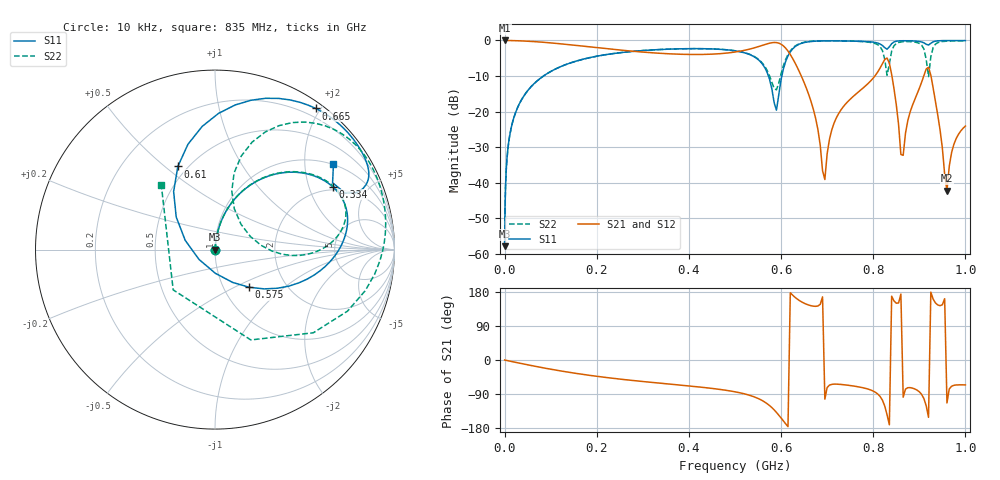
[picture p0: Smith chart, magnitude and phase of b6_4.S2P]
!Generated from: C:\Users\nkfzm\OneDrive - University of Missouri\Desktop\Research\PowerSI\Board 6 - GGPG\b6.spd
! Port1_ic_port_1::pwr
! Port2_decap_port_1::pwr
!Layout Workbench Version: 24.1.0.10141.541387  000
!Computer Host Name: RS29JQCX3
!TouchstoneFormatFlag = 1
! GNDNET gnd
! NETSLIST
#	Hz	Z	RI	R	1
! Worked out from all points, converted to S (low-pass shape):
!   385 points, 10 kHz to 1 GHz, reference 1 ohm
!   highest |S21| = -0.01 dB at 10 kHz (marker M1); lowest = -42.3 dB at 960 MHz (marker M2)
!   |S21| within 3 dB of the highest: start of sweep to 275.4 MHz; 511.8 MHz to 615 MHz (103.3 MHz wide, 18.3 % of centre)
!   lowest |S11| = -57.9 dB at 10 kHz (marker M3), VSWR 1.00, Z = 1 + j8.97e-05 ohm
!   |S11| at or under -10 dB: start of sweep to 84.45 MHz; 572.5 MHz to 601.7 MHz (29.18 MHz wide, 4.97 % of centre)
!   |S22| runs from -57.9 to -0.1 dB; largest |S21 - S12| = 1.5e-11
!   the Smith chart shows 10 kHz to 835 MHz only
!   S11 on the Smith chart (normalised r, x): 10 kHz: 1.00, +0.00; 334 MHz: 1.85, +2.90; 575 MHz: 1.32, -0.60; 610 MHz: 0.44, +0.55; 665 MHz: 0.08, +1.94; 835 MHz: 0.98, +2.78
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10000  -1.499 -2.052e+05  -1.5 -2.052e+05  -1.5 -2.052e+05  -1.499 -2.052e+05
6000000  0.0032 -342  0.00119 -342  0.00119 -342  0.00321 -342
2.6e7  0.00686 -78.74  0.00257 -78.85  0.00257 -78.85  0.00688 -78.74
1.68e8  0.0176 -11.05  0.00672 -11.75  0.00672 -11.75  0.0177 -11.02
3.34e8  0.0255 -3.815  0.0103 -5.179  0.0103 -5.179  0.0263 -3.715
5.05e8  0.0334 -0.4413  0.0156 -2.467  0.0156 -2.467  0.037 -0.1768
5.75e8  0.0376 0.6391  0.0197 -1.63  0.0197 -1.63  0.0449 1.064
5.9e8  0.0387 0.8633  0.021 -1.452  0.021 -1.452  0.0473 1.339
6.1e8  0.0404 1.161  0.0231 -1.212  0.0231 -1.212  0.0513 1.719
6.65e8  0.0475 2.004  0.0337 -0.4797  0.0337 -0.4797  0.0718 2.938
6.7e8  0.0485 2.085  0.0354 -0.4027  0.0354 -0.4027  0.0751 3.071
6.95e8  0.0554 2.516  0.0477 0.0373  0.0477 0.0373  0.0994 3.856
7.2e8  0.0702 3.031  0.0758 0.6531  0.0758 0.6531  0.1554 5.004
8.05e8  0.232 1.615  0.4077 -3.738  0.4077 -3.738  0.8473 -4.366
8.25e8  0.1025 2.781  0.1382 -1.703  0.1382 -1.703  0.2895 -0.2886
8.35e8  0.0881 3.128  0.1072 -1.17  0.1072 -1.17  0.2242 0.7575
8.65e8  0.0982 4.026  0.123 0.1264  0.123 0.1264  0.251 3.261
9.05e8  0.5538 2.508  1.037 -3.62  1.037 -3.62  2.091 -4.423
9.2e8  0.1194 3.808  0.1614 -1.276  0.1614 -1.276  0.3278 0.2189
9.3e8  0.0861 4.155  0.0931 -0.7603  0.0931 -0.7603  0.1893 1.208
9.6e8  0.0645 4.821  0.0461 0.0286  0.0461 0.0286  0.0922 2.648
1e9  0.0623 5.517  0.0364 0.6639  0.0364 0.6639  0.0696 3.708
